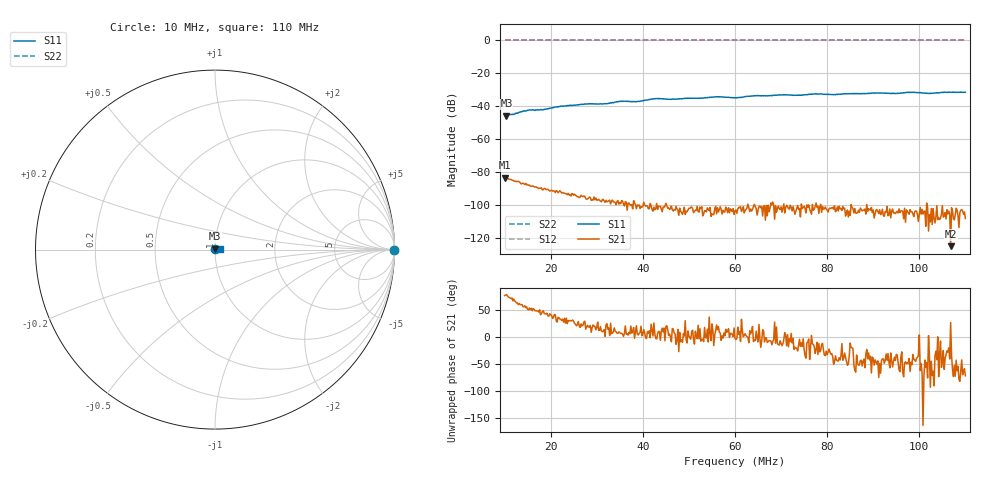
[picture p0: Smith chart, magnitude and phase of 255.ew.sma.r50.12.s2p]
! Anritsu VNA Master:  Model: MS2036C/10/77
! SN:  1601066
! /card0/usr/255.ew.sma.r50.12.s2p
! Existing Calibration Information:
! TYPE:  Current Settings,  Active Cal Settings
! TIME:  12/19/2017 06:12:49 PM,  12/19/2017 06:04:41 PM
! INTERNAL TEMP:  40.8 C,  39.8 C
! # POINTS:  501,  501
! START FREQ:  10.000 MHz,  10.000 MHz
! STOP FREQ:  110.000 MHz,  110.000 MHz
! SOURCE POWER:  High,  High
! IFBW:  100 Hz,  100 Hz
! AVG FACTOR:  1 ,  1
! REF PLANE 1:  0 mm,  0 mm
! REF PLANE 2:  0 mm,  0 mm
! CAL TYPE:  Full S11,  Full S11
! CAL METHOD:  SOLT,  SOLT
! CAL LINE TYPE:  Coax,  Coax
! DUT PORT 1:  N-Conn(F),  N-Conn(F)
! DUT PORT 2:  K-Conn(F),  K-Conn(F)
! CAL STATUS:  OK: Accuracy High,  --
# GHZ S DB R 50.0
! FREQ.GHZ  S11DB  S11A  S21DB  S21A  S12DB  S12A  S22DB  S22A
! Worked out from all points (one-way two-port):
!   501 points, 10 MHz to 110 MHz, reference 50 ohm
!   highest |S21| = -83.18 dB at 10 MHz (marker M1); lowest = -124.9 dB at 106.8 MHz (marker M2)
!   lowest |S11| = -45.6 dB at 10.4 MHz (marker M3), VSWR 1.01, Z = 50.2 + j0.5 ohm
!   |S11| at or under -10 dB: start of sweep to end of sweep
!   |S22| runs from 0.0 to 0.0 dB; largest |S21 - S12| = 1
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0.01  -45.36 72.5  -83.18 76.1  0.00 0.0  0.00 0.0
0.0104  -45.63 72.3  -83.79 78.0  0.00 0.0  0.00 0.0
0.0154  -42.28 64.9  -87.79 53.2  0.00 0.0  0.00 0.0
0.0184  -42.06 62.3  -90.47 48.0  0.00 0.0  0.00 0.0
0.0222  -39.83 59.1  -91.91 32.3  0.00 0.0  0.00 0.0
0.0268  -38.76 56.6  -94.54 20.1  0.00 0.0  0.00 0.0
0.0318  -38.36 53.1  -98.26 0.9  0.00 0.0  0.00 0.0
0.0352  -36.98 50.8  -99.05 6.0  0.00 0.0  0.00 0.0
0.0388  -37.03 48.2  -99.81 5.0  0.00 0.0  0.00 0.0
0.0434  -35.29 48.7  -100.56 9.9  0.00 0.0  0.00 0.0
0.0458  -35.68 48.3  -102.55 5.0  0.00 0.0  0.00 0.0
0.0562  -34.21 40.3  -101.54 13.3  0.00 0.0  0.00 0.0
0.06  -34.80 37.6  -103.52 -2.9  0.00 0.0  0.00 0.0
0.0644  -33.50 32.7  -100.84 -7.0  0.00 0.0  0.00 0.0
0.074  -33.22 27.7  -101.99 -4.7  0.00 0.0  0.00 0.0
0.0768  -32.57 24.0  -99.53 -13.2  0.00 0.0  0.00 0.0
0.0814  -32.87 22.8  -102.38 -50.7  0.00 0.0  0.00 0.0
0.0934  -32.04 16.4  -105.88 -46.1  0.00 0.0  0.00 0.0
0.0986  -31.50 12.5  -105.22 -32.6  0.00 0.0  0.00 0.0
0.1024  -32.16 9.9  -110.11 -93.4  0.00 0.0  0.00 0.0
0.1068  -31.43 6.7  -124.85 26.2  0.00 0.0  0.00 0.0
0.11  -31.43 3.2  -108.06 -72.0  0.00 0.0  0.00 0.0
